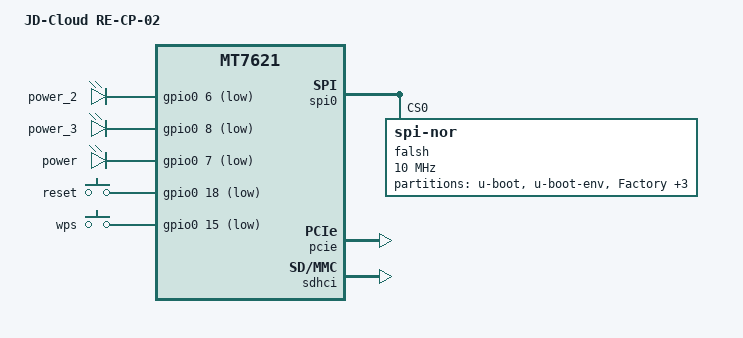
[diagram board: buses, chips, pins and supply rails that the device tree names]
/dts-v1/;

#include "mt7621.dtsi"
#include <dt-bindings/input/input.h>
#include "mt7621-raeth-gmac2.dtsi"
#include "mt7621-pinctrl-default-gpio.dtsi"

/ {
	compatible = "jdcloud,re-cp-02";
	model = "JD-Cloud RE-CP-02";

	chosen {
		bootargs = "console=ttyS0,115200";
	};

	leds {
		compatible = "gpio-leds";

		sys_red {
			label = "power_2";
			gpios = <&gpio0 6 GPIO_ACTIVE_LOW>;
		};

		sys_green {
			label = "power_3";
			gpios = <&gpio0 8 GPIO_ACTIVE_LOW>;
		};

		sys_blue {
			label = "power";
			gpios = <&gpio0 7 GPIO_ACTIVE_LOW>;
		};
	};

	gpio-keys-polled {
		compatible = "gpio-keys-polled";
		#address-cells = <1>;
		#size-cells = <0>;
		poll-interval = <20>;

		reset {
			label = "reset";
			gpios = <&gpio0 18 GPIO_ACTIVE_LOW>;
			linux,code = <KEY_RESTART>;
		};

		wps {
			label = "wps";
			gpios = <&gpio0 15 GPIO_ACTIVE_LOW>;
			linux,code = <KEY_WPS_BUTTON>;
		};
	};
};

&spi0 {
	status = "okay";

	falsh@0 {
		#address-cells = <1>;
		#size-cells = <1>;
		compatible = "jedec,spi-nor";
		reg = <0>;
		spi-max-frequency = <10000000>;

		partition@0 {
			label = "u-boot";
			reg = <0x00000 0x40000>;
		};

		partition@40000 {
			label = "u-boot-env";
			reg = <0x40000 0x10000>;
		};

		partition@50000 {
			label = "Factory";
			reg = <0x50000 0x40000>;
		};

		partition@90000 {
			label = "firmware";
			reg = <0x90000 0x01b70000> ;
		};

		partition@0x01c00000 {
			label = "ramfs";
			reg = <0x01c00000 0x0038000>;
		};

		partition@0x01f80000 {
			label = "noused";
			reg = <0x01f80000 0x00080000 >;
		};
	};
};

&pcie {
	status = "okay";
};

&sdhci {
	status = "okay";
};
